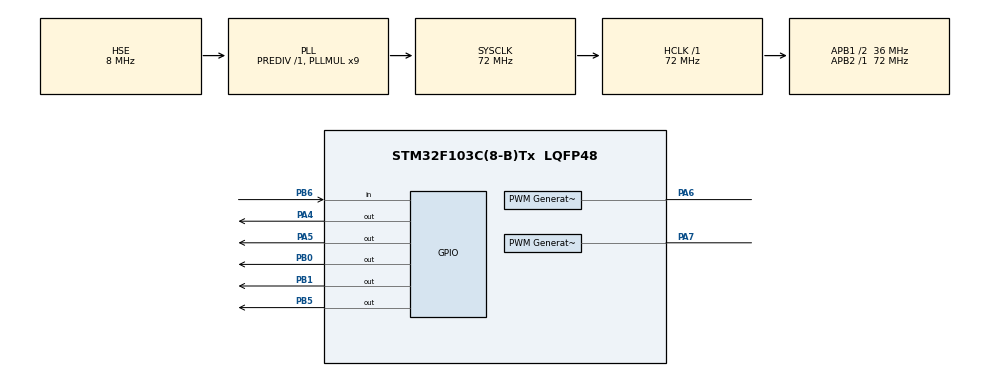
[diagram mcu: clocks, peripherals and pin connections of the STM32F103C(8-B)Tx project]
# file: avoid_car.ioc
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Mcu.Family=STM32F1
Mcu.Name=STM32F103C(8-B)Tx
Mcu.Package=LQFP48
NVIC.PriorityGroup=NVIC_PRIORITYGROUP_4
PA4.GPIO_Speed=GPIO_SPEED_FREQ_LOW
PA4.Mode=Output
PA4.Signal=GPIO_Output
PA5.GPIO_Speed=GPIO_SPEED_FREQ_LOW
PA5.Mode=Output
PA5.Signal=GPIO_Output
PA6.Mode=TIM3_CH1
PA6.Signal=PWM Generation1 CH1
PA7.Mode=TIM3_CH2
PA7.Signal=PWM Generation1 CH2
PA13.Mode=Serial_Wire
PA13.Signal=SYS_JTMS-SWDIO
PA14.Mode=Serial_Wire
PA14.Signal=SYS_JTCK-SWCLK
PB0.GPIO_Speed=GPIO_SPEED_FREQ_LOW
PB0.Mode=Output
PB0.Signal=GPIO_Output
PB1.GPIO_Speed=GPIO_SPEED_FREQ_LOW
PB1.Mode=Output
PB1.Signal=GPIO_Output
PB5.GPIO_Speed=GPIO_SPEED_FREQ_LOW
PB5.Mode=Output
PB5.Signal=GPIO_Output
PB6.Mode=Input
PB6.Signal=GPIO_Input
PD0-OSC_IN.Mode=HSE-External-Oscillator
PD0-OSC_IN.Signal=RCC_OSC_IN
PD1-OSC_OUT.Mode=HSE-External-Oscillator
PD1-OSC_OUT.Signal=RCC_OSC_OUT
ProjectManager.HeapSize=0x200
ProjectManager.StackSize=0x400
ProjectManager.TargetToolchain=STM32CubeIDE
RCC.AHBFreq_Value=72000000
RCC.APB1CLKDivider=RCC_HCLK_DIV2
RCC.APB1Freq_Value=36000000
RCC.APB1TimFreq_Value=72000000
RCC.APB2Freq_Value=72000000
RCC.APB2TimFreq_Value=72000000
RCC.HCLKFreq_Value=72000000
RCC.PLLMUL=RCC_PLL_MUL9
RCC.PLLSourceVirtual=RCC_PLLSOURCE_HSE
RCC.SYSCLKFreq_VALUE=72000000
RCC.SYSCLKSource=RCC_SYSCLKSOURCE_PLLCLK
RCC.USBFreq_Value=72000000
TIM3.Channel-PWMGeneration1=TIM_CHANNEL_1
TIM3.Channel-PWMGeneration2=TIM_CHANNEL_2
TIM3.Period=999
TIM3.Prescaler=71
TIM3.Pulse-PWMGeneration1=0
TIM3.Pulse-PWMGeneration2=0
VP_TIM3_VS_ClockSourceINT.Mode=Internal
board=custom

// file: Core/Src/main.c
/* USER CODE BEGIN Header */
/**
  ******************************************************************************
  * @file           : main.c
  * @brief          : Main program body
  ******************************************************************************
  * @attention
  *
  * Copyright (c) 2026 STMicroelectronics.
  * All rights reserved.
  *
  * This software is licensed under terms that can be found in the LICENSE file
  * in the root directory of this software component.
  * If no LICENSE file comes with this software, it is provided AS-IS.
  *
  ******************************************************************************
  */
/* USER CODE END Header */
#include "main.h"
#include "gpio.h"
#include "tim.h"

/* USER CODE BEGIN Includes */
#include "motor.h"
#include "ultrasonic.h"
/* USER CODE END Includes */

void SystemClock_Config(void);

int main(void)
{

  /* MCU Configuration--------------------------------------------------------*/

  /* Reset of all peripherals, Initializes the Flash interface and the Systick. */
  HAL_Init();

  /* Configure the system clock */
  SystemClock_Config();

  /* Initialize all configured peripherals */
  MX_GPIO_Init();
  MX_TIM3_Init();
  /* USER CODE BEGIN 2 */

  Motor_Start();          /* 启动 PWM */
  Ultrasonic_Init();      /* 启动 DWT 延时（测距用） */
  Motor_Stop();           /* 先停车 */
  HAL_Delay(100);

  /* USER CODE END 2 */

  /* Infinite loop */
  while (1)
  {

    /* USER CODE BEGIN 3 */
    float dist = Ultrasonic_GetDistance();

    if (dist < AVOID_DISTANCE_CM)
    {
      /* 前面有障碍：先停，然后原地左转一段时间避开 */
      Motor_Stop();
      HAL_Delay(100);
      Motor_TurnLeft(50);
      HAL_Delay(400);
      Motor_Stop();
      HAL_Delay(100);
    }
    else
    {
      /* 没障碍，直走 */
      Motor_Forward(CAR_SPEED);
    }

    HAL_Delay(50);   /* 测距间隔，别太频繁 */
  }
  /* USER CODE END 3 */
}

void SystemClock_Config(void)
{
  RCC_OscInitTypeDef RCC_OscInitStruct = {0};
  RCC_ClkInitTypeDef RCC_ClkInitStruct = {0};

  /** Initializes the RCC Oscillators according to the specified parameters
  * in the RCC_OscInitTypeDef structure.
  */
  RCC_OscInitStruct.OscillatorType = RCC_OSCILLATORTYPE_HSE;
  RCC_OscInitStruct.HSEState = RCC_HSE_ON;
  RCC_OscInitStruct.HSEPredivValue = RCC_HSE_PREDIV_DIV1;
  RCC_OscInitStruct.HSIState = RCC_HSI_ON;
  RCC_OscInitStruct.PLL.PLLState = RCC_PLL_ON;
  RCC_OscInitStruct.PLL.PLLSource = RCC_PLLSOURCE_HSE;
  RCC_OscInitStruct.PLL.PLLMUL = RCC_PLL_MUL9;
  if (HAL_RCC_OscConfig(&RCC_OscInitStruct) != HAL_OK)
  {
    Error_Handler();
  }

  /** Initializes the CPU, AHB and APB buses clocks
  */
  RCC_ClkInitStruct.ClockType = RCC_CLOCKTYPE_HCLK|RCC_CLOCKTYPE_SYSCLK
                              |RCC_CLOCKTYPE_PCLK1|RCC_CLOCKTYPE_PCLK2;
  RCC_ClkInitStruct.SYSCLKSource = RCC_SYSCLKSOURCE_PLLCLK;
  RCC_ClkInitStruct.AHBCLKDivider = RCC_SYSCLK_DIV1;
  RCC_ClkInitStruct.APB1CLKDivider = RCC_HCLK_DIV2;
  RCC_ClkInitStruct.APB2CLKDivider = RCC_HCLK_DIV1;

  if (HAL_RCC_ClockConfig(&RCC_ClkInitStruct, FLASH_LATENCY_2) != HAL_OK)
  {
    Error_Handler();
  }
}

void Error_Handler(void)
{
  __disable_irq();
  while (1)
  {
  }
}
